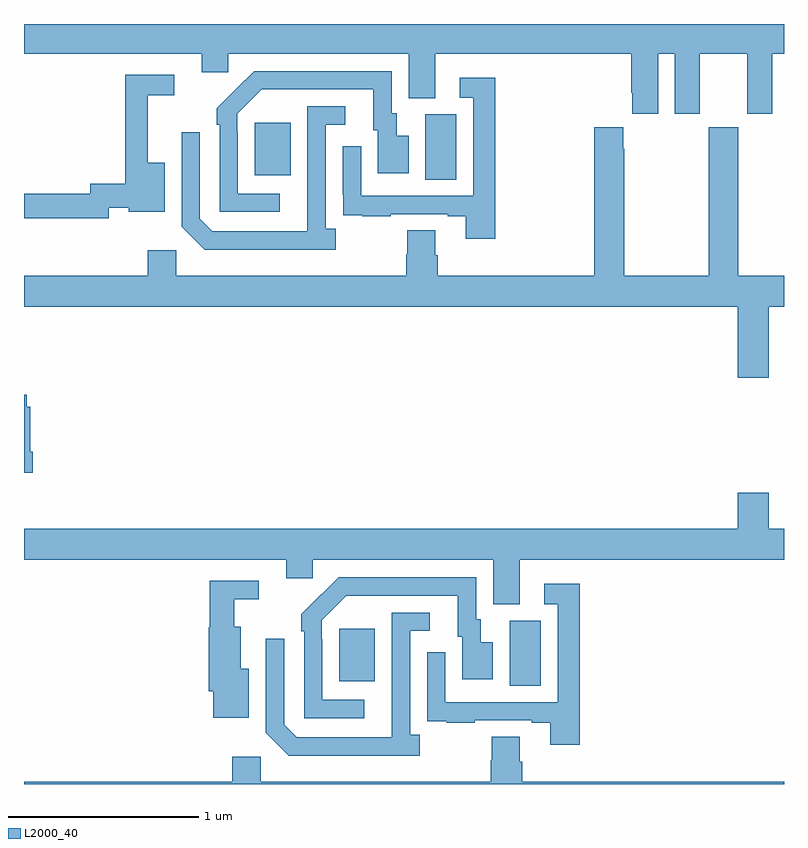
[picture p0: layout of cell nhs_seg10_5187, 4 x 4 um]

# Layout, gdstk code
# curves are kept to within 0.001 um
import gdstk
lib = gdstk.Library(unit=1e-6, precision=1e-09)
def R(c, l, rs):  # rectangles x0, y0, x1, y1
    for r in rs: c.add(gdstk.rectangle(r[:2], r[2:], *l))
def P(c, l, *ps):  # polygons
    for p in ps: c.add(gdstk.Polygon(p, *l))
L2000_40 = (2000, 40)

nhs_seg10_5187 = lib.new_cell('nhs_seg10_5187')
R(nhs_seg10_5187, L2000_40, [(415.556,1269.016,415.72,1269.36), (414.659,1269.041,414.847,1269.316), (415.112,1271.68,415.276,1272.024), (414.215,1271.705,414.403,1271.98)])
P(nhs_seg10_5187, L2000_40, [(416.338,1272.344),(416.426,1272.344),(416.426,1272.027),(416.557,1272.027),(416.557,1272.344),(416.807,1272.344),(416.807,1272.027),(416.938,1272.027),(416.938,1272.344),(417,1272.344),(417,1272.5),(413,1272.5),(413,1272.344),(413.936,1272.344),(413.936,1272.246),(414.075,1272.246),(414.075,1272.344),(415.025,1272.344),(415.025,1272.109),(415.165,1272.109),(415.165,1272.344),(416.195,1272.344),(416.195,1272.139),(416.201,1272.139),(416.201,1272.027),(416.338,1272.027)],
  [(414.346,1271.607),(414.126,1271.607),(414.126,1271.927),(414.123,1271.927),(414.123,1272.027),(414.252,1272.156),(414.839,1272.156),(414.839,1271.94),(414.863,1271.94),(414.863,1271.715),(415.024,1271.715),(415.024,1271.911),(414.961,1271.911),(414.961,1272.03),(414.936,1272.03),(414.936,1272.252),(414.212,1272.252),(414.015,1272.057),(414.015,1271.969),(414.03,1271.969),(414.03,1271.511),(414.346,1271.511)],
  [(413.445,1271.532),(413.552,1271.532),(413.552,1271.513),(413.74,1271.513),(413.74,1271.77),(413.651,1271.77),(413.651,1272.126),(413.791,1272.126),(413.791,1272.234),(413.533,1272.234),(413.533,1271.66),(413.349,1271.66),(413.349,1271.606),(413,1271.606),(413,1271.478),(413.445,1271.478)],
  [(415.481,1272.217),(415.293,1272.217),(415.293,1272.111),(415.365,1272.111),(415.365,1271.595),(414.774,1271.595),(414.774,1271.857),(414.678,1271.857),(414.678,1271.602),(414.679,1271.602),(414.679,1271.493),(414.781,1271.493),(414.781,1271.487),(414.929,1271.487),(414.929,1271.499),(415.229,1271.499),(415.229,1271.487),(415.325,1271.487),(415.325,1271.37),(415.481,1271.37)],
  [(414.64,1271.422),(414.588,1271.422),(414.588,1271.97),(414.691,1271.97),(414.691,1272.066),(414.492,1272.066),(414.491,1271.409),(413.991,1271.409),(413.925,1271.475),(413.925,1271.929),(413.829,1271.929),(413.829,1271.433),(413.95,1271.312),(414.64,1271.312)],
  [(416.756,1270.638),(416.92,1270.638),(416.92,1271.012),(417,1271.012),(417,1271.176),(416.76,1271.176),(416.76,1271.956),(416.605,1271.956),(416.605,1271.176),(416.16,1271.176),(416.16,1271.843),(416.155,1271.843),(416.155,1271.956),(416,1271.956),(416,1271.176),(415.178,1271.176),(415.178,1271.282),(415.165,1271.282),(415.165,1271.414),(415.018,1271.414),(415.018,1271.289),(415.013,1271.289),(415.013,1271.176),(413.802,1271.176),(413.802,1271.308),(413.651,1271.308),(413.651,1271.176),(413,1271.176),(413,1271.012),(416.756,1271.012)],
  [(413.045,1270.249),(413.032,1270.249),(413.032,1270.485),(413.014,1270.485),(413.014,1270.549),(413,1270.549),(413,1270.137),(413.045,1270.137)],
  [(415.609,1269.68),(417,1269.68),(417,1269.844),(416.92,1269.844),(416.92,1270.033),(416.756,1270.033),(416.756,1269.844),(413,1269.844),(413,1269.68),(414.38,1269.68),(414.38,1269.582),(414.519,1269.582),(414.519,1269.68),(415.469,1269.68),(415.469,1269.445),(415.609,1269.445)],
  [(414.79,1268.943),(414.57,1268.943),(414.57,1269.263),(414.567,1269.263),(414.567,1269.363),(414.696,1269.492),(415.283,1269.492),(415.283,1269.276),(415.307,1269.276),(415.307,1269.051),(415.468,1269.051),(415.468,1269.247),(415.405,1269.247),(415.405,1269.366),(415.38,1269.366),(415.38,1269.588),(414.656,1269.588),(414.459,1269.393),(414.459,1269.305),(414.474,1269.305),(414.474,1268.847),(414.79,1268.847)],
  [(414.184,1269.106),(414.142,1269.106),(414.142,1269.328),(414.106,1269.328),(414.106,1269.473),(414.235,1269.473),(414.235,1269.57),(413.977,1269.57),(413.977,1269.324),(413.972,1269.324),(413.972,1268.988),(413.996,1268.988),(413.996,1268.849),(414.184,1268.849)],
  [(415.925,1269.553),(415.737,1269.553),(415.737,1269.447),(415.809,1269.447),(415.809,1268.931),(415.218,1268.931),(415.218,1269.193),(415.122,1269.193),(415.122,1268.938),(415.123,1268.938),(415.123,1268.829),(415.225,1268.829),(415.225,1268.823),(415.373,1268.823),(415.373,1268.835),(415.673,1268.835),(415.673,1268.823),(415.769,1268.823),(415.769,1268.706),(415.925,1268.706)],
  [(415.084,1268.758),(415.032,1268.758),(415.032,1269.306),(415.135,1269.306),(415.135,1269.402),(414.936,1269.402),(414.935,1268.745),(414.435,1268.745),(414.369,1268.811),(414.369,1269.265),(414.273,1269.265),(414.273,1268.769),(414.394,1268.648),(415.084,1268.648)],
  [(417,1268.512),(415.622,1268.512),(415.622,1268.618),(415.609,1268.618),(415.609,1268.75),(415.462,1268.75),(415.462,1268.625),(415.457,1268.625),(415.457,1268.512),(414.246,1268.512),(414.246,1268.644),(414.095,1268.644),(414.095,1268.512),(413,1268.512),(413,1268.5),(417,1268.5)])

lib.write_gds('nhs_seg10_5187.gds')
